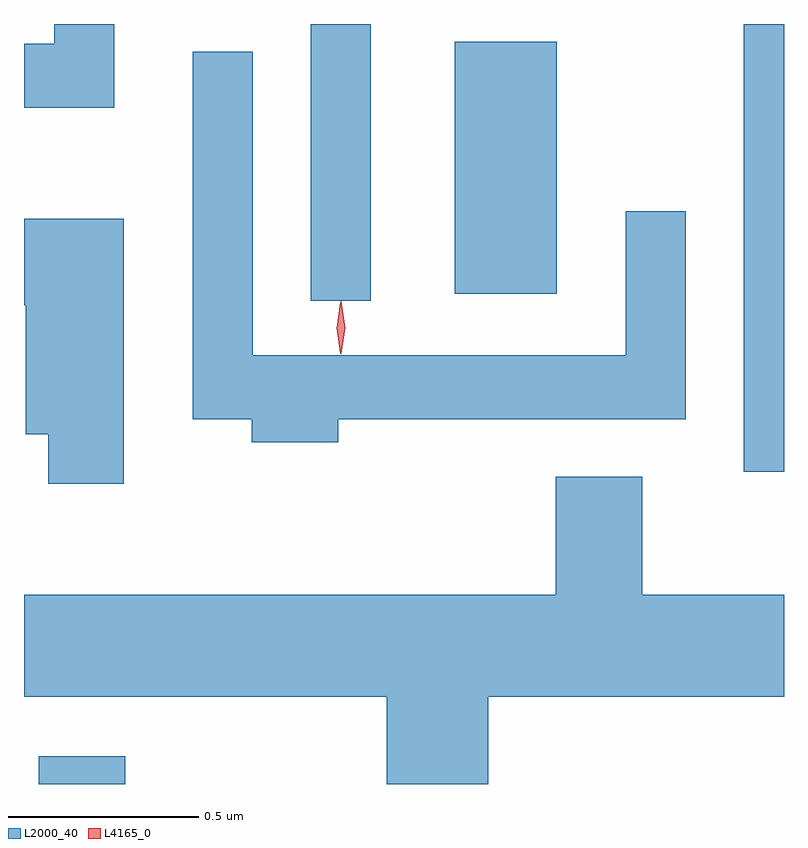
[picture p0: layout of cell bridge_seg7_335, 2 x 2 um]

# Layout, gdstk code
import gdstk
lib = gdstk.Library(unit=1e-6, precision=1e-09)
def R(c, l, rs):  # rectangles x0, y0, x1, y1
    for r in rs: c.add(gdstk.rectangle(r[:2], r[2:], *l))
def P(c, l, *ps):  # polygons
    for p in ps: c.add(gdstk.Polygon(p, *l))
L2000_40 = (2000, 40)
L4165_0 = (4165, 0)

bridge_seg7_335 = lib.new_cell('bridge_seg7_335')
R(bridge_seg7_335, L2000_40, [(1193.181,1765.146,1193.409,1765.219), (1195.036,1765.968,1195.142,1767.146), (1193.896,1766.418,1194.054,1767.146), (1194.276,1766.436,1194.544,1767.099)])
P(bridge_seg7_335, L2000_40, [(1193.379,1767.146),(1193.221,1767.146),(1193.221,1767.094),(1193.142,1767.094),(1193.142,1766.926),(1193.379,1766.926)],
  [(1193.969,1766.106),(1194.884,1766.106),(1194.884,1766.653),(1194.726,1766.653),(1194.726,1766.274),(1193.744,1766.274),(1193.744,1767.073),(1193.586,1767.073),(1193.586,1766.106),(1193.741,1766.106),(1193.741,1766.046),(1193.969,1766.046)],
  [(1193.404,1766.634),(1193.142,1766.634),(1193.142,1766.406),(1193.146,1766.406),(1193.146,1766.066),(1193.206,1766.066),(1193.206,1765.936),(1193.404,1765.936)],
  [(1194.364,1765.376),(1195.142,1765.376),(1195.142,1765.644),(1194.769,1765.644),(1194.769,1765.954),(1194.541,1765.954),(1194.541,1765.644),(1193.142,1765.644),(1193.142,1765.376),(1194.096,1765.376),(1194.096,1765.146),(1194.364,1765.146)])
P(bridge_seg7_335, L4165_0, [(1193.977,1766.277),(1193.976,1766.278),(1193.967,1766.347),(1193.976,1766.416),(1193.977,1766.416),(1193.977,1766.416),(1193.987,1766.347),(1193.977,1766.278)],
  [(1193.974,1766.28),(1193.974,1766.28),(1193.965,1766.346),(1193.974,1766.412),(1193.975,1766.413),(1193.975,1766.412),(1193.984,1766.346),(1193.975,1766.28)])

lib.write_gds('bridge_seg7_335.gds')
